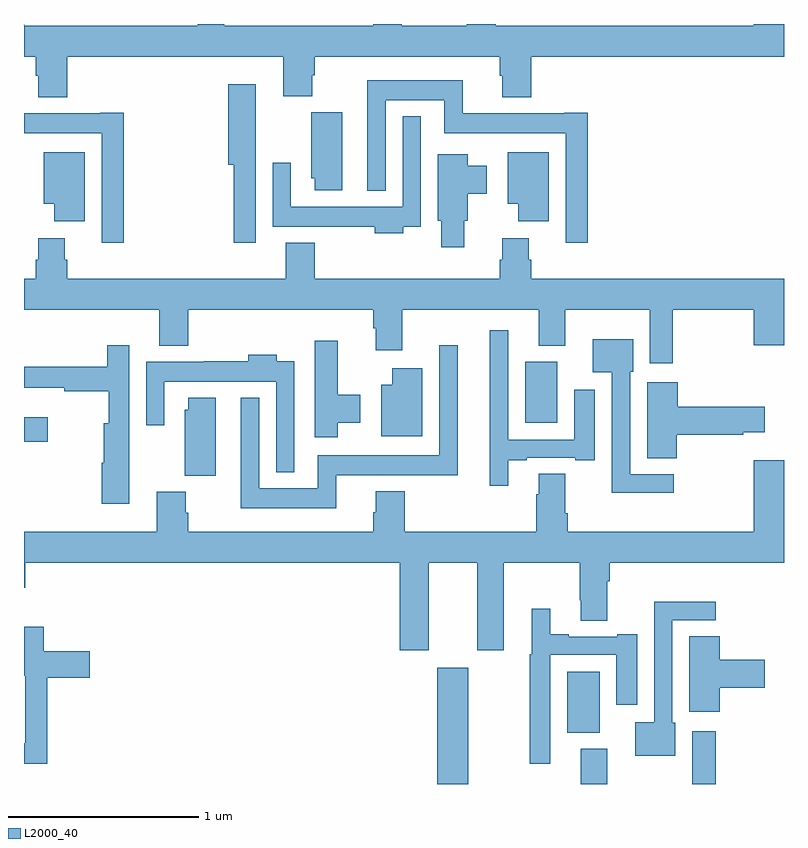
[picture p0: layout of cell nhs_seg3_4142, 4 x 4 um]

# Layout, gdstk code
import gdstk
lib = gdstk.Library(unit=1e-6, precision=1e-09)
def R(c, l, rs):  # rectangles x0, y0, x1, y1
    for r in rs: c.add(gdstk.rectangle(r[:2], r[2:], *l))
def P(c, l, *ps):  # polygons
    for p in ps: c.add(gdstk.Polygon(p, *l))
L2000_40 = (2000, 40)

nhs_seg3_4142 = lib.new_cell('nhs_seg3_4142')
R(nhs_seg3_4142, L2000_40, [(331.175,718.4,331.339,719.011), (331.931,718.4,332.071,718.585), (332.516,718.4,332.642,718.678), (331.859,718.67,332.029,718.99), (329,720.202,329.125,720.331), (331.637,720.302,331.807,720.622)])
P(nhs_seg3_4142, L2000_40, [(329.228,722.228),(330.365,722.228),(330.365,722.02),(330.517,722.02),(330.517,722.129),(330.53,722.129),(330.53,722.228),(331.505,722.228),(331.505,722.127),(331.517,722.127),(331.517,722.015),(331.67,722.015),(331.67,722.228),(333,722.228),(333,722.4),(332.84,722.4),(332.84,722.392),(331.484,722.392),(331.484,722.4),(331.331,722.4),(331.331,722.392),(330.987,722.392),(330.987,722.4),(330.839,722.4),(330.839,722.392),(330.055,722.392),(330.055,722.4),(329.915,722.4),(329.915,722.392),(329.001,722.392),(329.001,722.4),(329,722.4),(329,722.228),(329.063,722.228),(329.063,722.127),(329.075,722.127),(329.075,722.015),(329.228,722.015)],
  [(331.967,721.933),(331.844,721.933),(331.844,721.93),(331.31,721.93),(331.31,722.104),(330.806,722.104),(330.806,721.523),(330.903,721.523),(330.903,722),(331.212,722),(331.212,721.826),(331.851,721.826),(331.851,721.248),(331.967,721.248)],
  [(330.219,721.762),(330.22,721.762),(330.22,722.083),(330.074,722.083),(330.074,721.658),(330.103,721.658),(330.103,721.248),(330.219,721.248)],
  [(330.676,721.935),(330.512,721.935),(330.512,721.587),(330.53,721.587),(330.53,721.524),(330.676,721.524)],
  [(329.525,721.933),(329.402,721.933),(329.402,721.93),(329,721.93),(329,721.826),(329.409,721.826),(329.409,721.248),(329.525,721.248)],
  [(330.997,721.332),(331.089,721.332),(331.089,721.915),(330.993,721.915),(330.993,721.438),(330.405,721.438),(330.405,721.669),(330.309,721.669),(330.309,721.334),(330.613,721.334),(330.613,721.332),(330.845,721.332),(330.845,721.298),(330.997,721.298)],
  [(329.32,721.726),(329.105,721.726),(329.105,721.454),(329.159,721.454),(329.159,721.361),(329.32,721.361)],
  [(331.762,721.726),(331.547,721.726),(331.547,721.454),(331.601,721.454),(331.601,721.361),(331.762,721.361)],
  [(331.318,721.365),(331.336,721.365),(331.336,721.507),(331.435,721.507),(331.435,721.654),(331.336,721.654),(331.336,721.714),(331.178,721.714),(331.178,721.365),(331.196,721.365),(331.196,721.224),(331.318,721.224)],
  [(332.415,720.896),(332.84,720.896),(332.84,720.708),(333,720.708),(333,721.06),(331.67,721.06),(331.67,721.158),(331.657,721.158),(331.657,721.273),(331.517,721.273),(331.517,721.158),(331.505,721.158),(331.505,721.06),(330.53,721.06),(330.53,721.249),(330.377,721.249),(330.377,721.06),(329.228,721.06),(329.228,721.158),(329.215,721.158),(329.215,721.273),(329.075,721.273),(329.075,721.158),(329.063,721.158),(329.063,721.06),(329,721.06),(329,720.896),(329.711,720.896),(329.711,720.707),(329.864,720.707),(329.864,720.896),(330.839,720.896),(330.839,720.798),(330.851,720.798),(330.851,720.684),(330.991,720.684),(330.991,720.896),(331.709,720.896),(331.709,720.707),(331.849,720.707),(331.849,720.896),(332.294,720.896),(332.294,720.615),(332.415,720.615)],
  [(331.549,720.105),(331.645,720.105),(331.645,720.117),(331.901,720.117),(331.901,720.105),(332.005,720.105),(332.005,720.475),(331.895,720.475),(331.895,720.213),(331.548,720.213),(331.548,720.787),(331.451,720.787),(331.451,719.97),(331.549,719.97)],
  [(332.419,720.03),(332.19,720.03),(332.19,720.57),(332.206,720.57),(332.206,720.742),(331.994,720.742),(331.994,720.566),(332.094,720.566),(332.094,719.933),(332.419,719.933)],
  [(330.652,720.302),(330.769,720.302),(330.769,720.45),(330.652,720.45),(330.652,720.733),(330.53,720.733),(330.53,720.225),(330.652,720.225)],
  [(329.554,720.194),(329.553,720.194),(329.553,720.709),(329.437,720.709),(329.437,720.595),(329,720.595),(329,720.485),(329.212,720.485),(329.212,720.466),(329.445,720.466),(329.445,720.298),(329.42,720.298),(329.42,720.09),(329.408,720.09),(329.408,719.874),(329.554,719.874)],
  [(330.644,720.026),(331.282,720.026),(331.282,720.709),(331.185,720.709),(331.185,720.13),(330.546,720.13),(330.546,719.956),(330.237,719.956),(330.237,720.433),(330.14,720.433),(330.14,719.852),(330.644,719.852)],
  [(330.423,720.625),(330.331,720.625),(330.331,720.658),(330.179,720.658),(330.179,720.625),(329.947,720.625),(329.947,720.622),(329.643,720.622),(329.643,720.288),(329.739,720.288),(329.739,720.518),(330.327,720.518),(330.327,720.041),(330.423,720.041)],
  [(331.096,720.589),(330.938,720.589),(330.938,720.502),(330.881,720.502),(330.881,720.23),(331.096,720.23)],
  [(332.436,720.239),(332.786,720.239),(332.786,720.251),(332.899,720.251),(332.899,720.386),(332.441,720.386),(332.441,720.514),(332.279,720.514),(332.279,720.115),(332.436,720.115)],
  [(330.01,720.433),(329.864,720.433),(329.864,720.369),(329.846,720.369),(329.846,720.022),(330.01,720.022)],
  [(331.129,719.564),(331.385,719.564),(331.385,719.103),(331.525,719.103),(331.525,719.564),(331.924,719.564),(331.924,719.368),(331.931,719.368),(331.931,719.26),(332.071,719.26),(332.071,719.468),(332.084,719.468),(332.084,719.564),(333,719.564),(333,720.103),(332.84,720.103),(332.84,719.728),(331.862,719.728),(331.862,719.824),(331.849,719.824),(331.849,720.032),(331.709,720.032),(331.709,719.924),(331.697,719.924),(331.697,719.728),(331.004,719.728),(331.004,719.941),(330.851,719.941),(330.851,719.829),(330.839,719.829),(330.839,719.728),(329.864,719.728),(329.864,719.828),(329.851,719.828),(329.851,719.937),(329.699,719.937),(329.699,719.728),(329,719.728),(329,719.433),(329.006,719.433),(329.006,719.564),(330.977,719.564),(330.977,719.103),(331.129,719.103)],
  [(332.428,718.722),(332.412,718.722),(332.412,719.262),(332.641,719.262),(332.641,719.36),(332.316,719.36),(332.316,718.726),(332.216,718.726),(332.216,718.55),(332.428,718.55)],
  [(331.77,719.079),(332.117,719.079),(332.117,718.818),(332.227,718.818),(332.227,719.188),(332.123,719.188),(332.123,719.175),(331.867,719.175),(331.867,719.188),(331.771,719.188),(331.771,719.323),(331.673,719.323),(331.673,719.082),(331.662,719.082),(331.662,718.506),(331.77,718.506)],
  [(329.123,718.958),(329.347,718.958),(329.347,719.1),(329.104,719.1),(329.104,719.227),(329,719.227),(329,718.97),(329.006,718.97),(329.006,718.615),(329,718.615),(329,718.506),(329.123,718.506)],
  [(332.663,718.907),(332.899,718.907),(332.899,719.054),(332.663,719.054),(332.663,719.177),(332.501,719.177),(332.501,718.779),(332.663,718.779)])

lib.write_gds('nhs_seg3_4142.gds')
